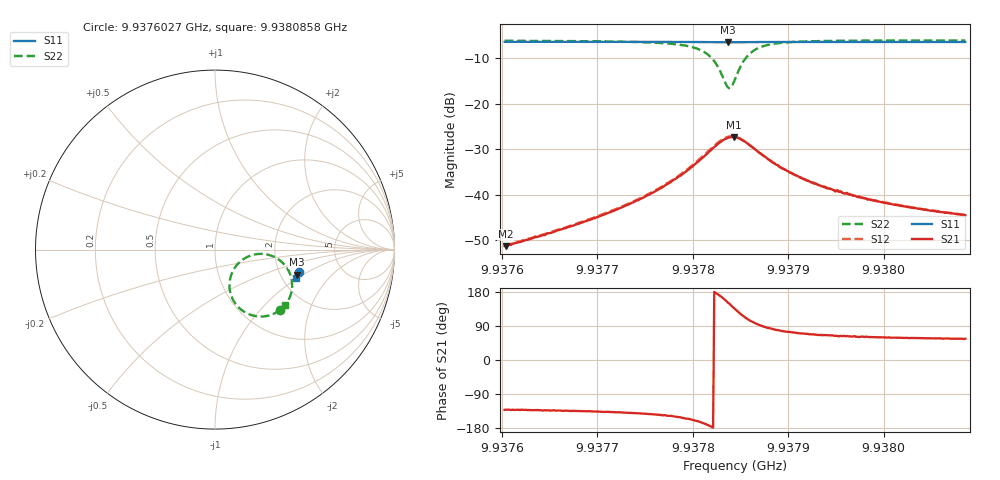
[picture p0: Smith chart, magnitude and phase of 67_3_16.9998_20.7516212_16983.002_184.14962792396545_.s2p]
#  HZ  S  RI  R  50.00
! Rohde & Schwarz Vector Network Analyzer
! Rohde-Schwarz,ZNB20-2Port,1311601062101988,3.16
! Created: UTC 3/20/2024, 10:55:04 PM
! freq[Hz]  re:S11  im:S11  re:S21  im:S21  re:S12  im:S12  re:S22  im:S22
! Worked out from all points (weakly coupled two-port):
!   401 points, 9.9376027 GHz to 9.9380858 GHz, reference 50 ohm
!   highest |S21| = -27.30 dB at 9.9378431 GHz (marker M1); lowest = -51.4 dB at 9.937604 GHz (marker M2)
!   lowest |S11| = -6.5 dB at 9.937837 GHz (marker M3), VSWR 2.82, Z = 122 - j44.1 ohm
!   |S11| at or under -10 dB: nowhere
!   |S22| runs from -16.6 to -6.0 dB; largest |S21 - S12| = 0.0027
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9.93760275e9  0.4653 -0.1258  -0.0018 -0.00203  -0.0018 -0.00203  0.364 -0.335
9.93760395e9  0.4653 -0.1259  -0.00177 -0.00205  -0.00188 -0.00206  0.3637 -0.3353
9.93768366e9  0.4633 -0.1316  -0.00347 -0.00348  -0.00359 -0.0035  0.3446 -0.3485
9.93772593e9  0.4621 -0.1343  -0.00542 -0.0048  -0.00564 -0.0048  0.3247 -0.3588
9.93776457e9  0.4608 -0.1373  -0.00932 -0.00665  -0.00972 -0.00662  0.2886 -0.3698
9.93779477e9  0.4593 -0.1395  -0.0168 -0.00792  -0.0176 -0.00774  0.2238 -0.3701
9.93781288e9  0.4577 -0.1407  -0.0265 -0.00546  -0.0275 -0.00495  0.1479 -0.3363
9.93782375e9  0.4562 -0.1407  -0.0342 0.00141  -0.0352 0.0028  0.0946 -0.2669
9.937831e9  0.4555 -0.1403  -0.038 0.0105  -0.0386 0.0125  0.081 -0.1859
9.93783703e9  0.455 -0.1394  -0.0371 0.0203  -0.037 0.0228  0.1057 -0.1081
9.93783945e9  0.4552 -0.1391  -0.0354 0.0241  -0.035 0.0266  0.1265 -0.0804
9.93784307e9  0.4554 -0.1387  -0.0316 0.0294  -0.0306 0.0312  0.167 -0.0476
9.93784428e9  0.4556 -0.1387  -0.0298 0.0307  -0.0287 0.0328  0.1823 -0.0397
9.93785032e9  0.4564 -0.1382  -0.0211 0.035  -0.0194 0.0362  0.26 -0.0237
9.93785515e9  0.457 -0.1382  -0.0141 0.0354  -0.0126 0.036  0.3136 -0.0337
9.93786119e9  0.4577 -0.1388  -0.00735 0.0334  -0.00581 0.0336  0.3627 -0.0608
9.93786843e9  0.4584 -0.1396  -0.00181 0.0295  -0.000859 0.0298  0.3983 -0.0982
9.93789259e9  0.4586 -0.1423  0.00445 0.0193  0.0049 0.0192  0.4297 -0.189
9.9379252e9  0.4583 -0.1452  0.00526 0.0125  0.0055 0.0126  0.4238 -0.2447
9.93796143e9  0.4573 -0.1478  0.00469 0.00934  0.00491 0.00903  0.4135 -0.2732
9.93800611e9  0.4562 -0.1511  0.00407 0.00682  0.0042 0.00684  0.4034 -0.2922
9.93808582e9  0.4541 -0.1564  0.00331 0.00492  0.00344 0.00493  0.3911 -0.3098
